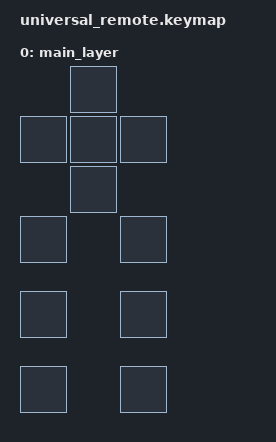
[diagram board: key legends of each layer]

#include <behaviors.dtsi>
#include <dt-bindings/zmk/keys.h>
#include <dt-bindings/zmk/pointing.h>
#include <dt-bindings/zmk/outputs.h>
#include <dt-bindings/zmk/bt.h>

#define COLEMAK         0
#define QWERTY          1
#define GAME            2
#define MOUSE        	3
#define RAISE           4
#define LOWER        	5

#define USE_HOMEROW_MODS

#ifdef USE_HOMEROW_MODS
//
// qwerty homerow mods
//
#define HR_Q_A                  &hml LGUI A
#define HR_Q_S                  &hml LALT S
#define HR_Q_D                  &hml LCTL D
#define HR_Q_F                  &hml LSHIFT F
#define HR_Q_J                  &hmr RSHIFT J
#define HR_Q_K                  &hmr RCTL K
#define HR_Q_L                  &hmr RALT L
#define HR_Q_SC                 &hmr RGUI SEMICOLON
//
// colemak-dh homerow mods
//
#define HR_C_A                  &hml LGUI A
#define HR_C_R                  &hml LALT R
#define HR_C_S                  &hml LCTL S
#define HR_C_T                  &hml LSHIFT T
#define HR_C_N                  &hmr RSHIFT N
#define HR_C_E                  &hmr RCTL E
#define HR_C_I                  &hmr RALT I
#define HR_C_O                  &hmr RGUI O
#else
//
// qwerty homerow mods
//
#define HR_Q_A                  &kp A
#define HR_Q_S                  &kp S
#define HR_Q_D                  &kp D
#define HR_Q_F                  &kp F
#define HR_Q_J                  &kp J
#define HR_Q_K                  &kp K
#define HR_Q_L                  &kp L
#define HR_Q_SC                 &kp SEMICOLON
//
// colemak-dh homerow mods
//
#define HR_C_A                  &kp A
#define HR_C_R                  &kp R
#define HR_C_S                  &kp S
#define HR_C_T                  &kp T
#define HR_C_N                  &kp N
#define HR_C_E                  &kp E
#define HR_C_I                  &kp I
#define HR_C_O                  &kp O
#endif

/ {
    keymap {
        compatible = "zmk,keymap";

        main_layer {
            // Placeholders until the keys are assigned, laid out as in
            // universal_remote.dtsi.
            bindings = <
                        &none
                &none   &none   &none
                        &none
                &none           &none
                &none           &none
                &none           &none
            >;
        };
    };
};
